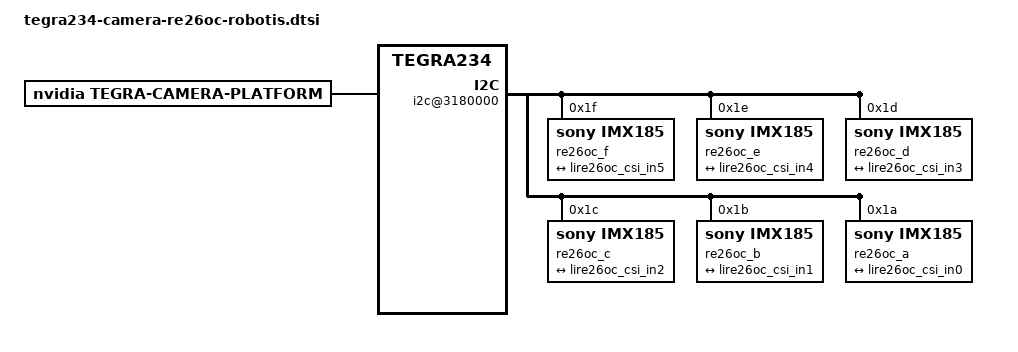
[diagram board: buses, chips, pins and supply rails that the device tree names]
/*
 * Novitec RE26OC
 *
 */

/ {
	fragment-camera@0 {
		target-path = "/";
		__overlay__ {
			tegra-capture-vi {
				num-channels = <6>;
				ports {
					#address-cells = <1>;
					#size-cells = <0>;
					port@0 {
						reg = <0>;
						lire26oc_vi_in0: endpoint {
							port-index = <0>;
							bus-width = <4>;
							vc-id = <0>;
							remote-endpoint = <&lire26oc_csi_out0>;
						};
					};

					port@1 {
						reg = <1>;
						lire26oc_vi_in1: endpoint {
							port-index = <0>;
							bus-width = <4>;
							vc-id = <1>;
							remote-endpoint = <&lire26oc_csi_out1>;
						};
					};

					port@2 {
						reg = <2>;
						lire26oc_vi_in2: endpoint {
							port-index = <2>;
							bus-width = <4>;
							vc-id = <0>;
							remote-endpoint = <&lire26oc_csi_out2>;
						};
					};

					port@3 {
						reg = <3>;
						lire26oc_vi_in3: endpoint {
							port-index = <2>;
							bus-width = <4>;
							vc-id = <1>;
							remote-endpoint = <&lire26oc_csi_out3>;
						};
					};

					port@4 {
						reg = <4>;
						lire26oc_vi_in4: endpoint {
							port-index = <4>;
							bus-width = <4>;
							vc-id = <0>;
							remote-endpoint = <&lire26oc_csi_out4>;
						};
					};

					port@5 {
						reg = <5>;
						lire26oc_vi_in5: endpoint {
							port-index = <4>;
							bus-width = <4>;
							vc-id = <1>;
							remote-endpoint = <&lire26oc_csi_out5>;
						};
					};
				};
			};
		};
	};
	fragment-camera@1 {
		target-path = "/bus@0";
		__overlay__ {
			host1x@13e00000 {
				nvcsi@15a00000 {
					num-channels = <6>;
					#address-cells = <1>;
					#size-cells = <0>;
					channel@0 {
						reg = <0>;
						ports {
							#address-cells = <1>;
							#size-cells = <0>;
							port@0 {
								reg = <0>;
								lire26oc_csi_in0: endpoint@0 {
									port-index = <0>;
									bus-width = <4>;
									remote-endpoint = <&lire26oc_re26oc_out0>;
								};
							};
							port@1 {
								reg = <1>;
								lire26oc_csi_out0: endpoint@1 {
									remote-endpoint = <&lire26oc_vi_in0>;
								};
							};
						};
					};
					channel@1 {
						reg = <1>;
						ports {
							#address-cells = <1>;
							#size-cells = <0>;
							port@0 {
								reg = <0>;
								lire26oc_csi_in1: endpoint@2 {
									port-index = <0>;
									bus-width = <4>;
									remote-endpoint = <&lire26oc_re26oc_out1>;
								};
							};
							port@1 {
								reg = <1>;
								lire26oc_csi_out1: endpoint@3 {
									remote-endpoint = <&lire26oc_vi_in1>;
								};
							};
						};
					};

					channel@2 {
						reg = <2>;
						ports {
							#address-cells = <1>;
							#size-cells = <0>;
							port@0 {
								reg = <0>;
								lire26oc_csi_in2: endpoint@4 {
									port-index = <2>;
									bus-width = <4>;
									remote-endpoint = <&lire26oc_re26oc_out2>;
								};
							};
							port@1 {
								reg = <1>;
								lire26oc_csi_out2: endpoint@5 {
									remote-endpoint = <&lire26oc_vi_in2>;
								};
							};
						};
					};

					channel@3 {
						reg = <3>;
						ports {
							#address-cells = <1>;
							#size-cells = <0>;
							port@0 {
								reg = <0>;
								lire26oc_csi_in3: endpoint@6 {
									port-index = <2>;
									bus-width = <4>;
									remote-endpoint = <&lire26oc_re26oc_out3>;
								};
							};
							port@1 {
								reg = <1>;
								lire26oc_csi_out3: endpoint@7 {
									remote-endpoint = <&lire26oc_vi_in3>;
								};
							};
						};
					};

					channel@4 {
						reg = <4>;
						ports {
							#address-cells = <1>;
							#size-cells = <0>;
							port@0 {
								reg = <0>;
								lire26oc_csi_in4: endpoint@8 {
									port-index = <4>;
									bus-width = <4>;
									remote-endpoint = <&lire26oc_re26oc_out4>;
								};
							};
							port@1 {
								reg = <1>;
								lire26oc_csi_out4: endpoint@9 {
									remote-endpoint = <&lire26oc_vi_in4>;
								};
							};
						};
					};

					channel@5 {
						reg = <5>;
						ports {
							#address-cells = <1>;
							#size-cells = <0>;
							port@0 {
								reg = <0>;
								lire26oc_csi_in5: endpoint@10 {
									port-index = <4>;
									bus-width = <4>;
									remote-endpoint = <&lire26oc_re26oc_out5>;
								};
							};
							port@1 {
								reg = <1>;
								lire26oc_csi_out5: endpoint@11 {
									remote-endpoint = <&lire26oc_vi_in5>;
								};
							};
						};
					};
				};
			};
			
			i2c@3180000 {
				re26oc_f@1f {
					compatible = "sony,imx185";

					reg = <0x1f>;
					devnode = "video5";

					/* Physical dimensions of sensor */
					physical_w = "15.0";
					physical_h = "12.5";

					sensor_model ="re26oc";

					mode0 {
						vc_id = "5";
						mclk_khz = "24000";
						num_lanes = "4";
						tegra_sinterface = "serial_e";
						phy_mode = "DPHY";
						discontinuous_clk = "yes";
						dpcm_enable = "false";
						cil_settletime = "0";
						dynamic_pixel_bit_depth = "16";
						csi_pixel_bit_depth = "16";
						mode_type = "yuv";
						pixel_phase = "uyvy";

						active_w = "1920";
						active_h = "1080";
						readout_orientation = "0";
						line_length = "2200";
						inherent_gain = "1";
						mclk_multiplier = "14";
						pix_clk_hz = "336000000";

						gain_factor = "10";
						min_gain_val = "0"; /* 0dB */
						max_gain_val = "480"; /* 48dB */
						step_gain_val = "3"; /* 0.3 */
						default_gain = "0";
						min_hdr_ratio = "1";
						max_hdr_ratio = "1";
						framerate_factor = "1000000";
						min_framerate = "1500000"; /* 1.5 */
						max_framerate = "60000000"; /* 30 */
						step_framerate = "1";
						default_framerate= "30000000";
						exposure_factor = "1000000";
						min_exp_time = "30"; /* us */
						max_exp_time = "660000"; /* us */
						step_exp_time = "1";
						default_exp_time = "33334";/* us */
						embedded_metadata_height = "0";
					};
					mode1 {
						vc_id = "5";
						mclk_khz = "24000";
						num_lanes = "4";
						tegra_sinterface = "serial_e";
						phy_mode = "DPHY";
						discontinuous_clk = "yes";
						dpcm_enable = "false";
						cil_settletime = "0";
						dynamic_pixel_bit_depth = "16";
						csi_pixel_bit_depth = "16";
						mode_type = "yuv";
						pixel_phase = "uyvy";

						active_w = "1280";
						active_h = "720";
						readout_orientation = "0";
						line_length = "1470";
						inherent_gain = "1";
						mclk_multiplier = "14";
						pix_clk_hz = "336000000";

						gain_factor = "10";
						min_gain_val = "0"; /* 0dB */
						max_gain_val = "480"; /* 48dB */
						step_gain_val = "3"; /* 0.3 */
						default_gain = "0";
						min_hdr_ratio = "1";
						max_hdr_ratio = "1";
						framerate_factor = "1000000";
						min_framerate = "1500000"; /* 1.5 */
						max_framerate = "60000000"; /* 30 */
						step_framerate = "1";
						default_framerate= "30000000";
						exposure_factor = "1000000";
						min_exp_time = "30"; /* us */
						max_exp_time = "660000"; /* us */
						step_exp_time = "1";
						default_exp_time = "33334";/* us */
						embedded_metadata_height = "0";
					};
					ports {
						#address-cells = <1>;
						#size-cells = <0>;
						port@0 {
							reg = <0>;
							lire26oc_re26oc_out5: endpoint {
								vc-id = <1>;
								port-index = <4>;
								bus-width = <4>;
								remote-endpoint = <&lire26oc_csi_in5>;
							};
						};
					};
				};

				re26oc_e@1e {
					compatible = "sony,imx185";

					reg = <0x1e>;
					devnode = "video4";

					/* Physical dimensions of sensor */
					physical_w = "15.0";
					physical_h = "12.5";

					sensor_model ="re26oc";

					mode0 {
						vc_id = "4";
						mclk_khz = "24000";
						num_lanes = "4";
						tegra_sinterface = "serial_e";
						phy_mode = "DPHY";
						discontinuous_clk = "yes";
						dpcm_enable = "false";
						cil_settletime = "0";
						dynamic_pixel_bit_depth = "16";
						csi_pixel_bit_depth = "16";
						mode_type = "yuv";
						pixel_phase = "uyvy";

						active_w = "1920";
						active_h = "1080";
						readout_orientation = "0";
						line_length = "2200";
						inherent_gain = "1";
						mclk_multiplier = "14";
						pix_clk_hz = "336000000";

						gain_factor = "10";
						min_gain_val = "0"; /* 0dB */
						max_gain_val = "480"; /* 48dB */
						step_gain_val = "3"; /* 0.3 */
						default_gain = "0";
						min_hdr_ratio = "1";
						max_hdr_ratio = "1";
						framerate_factor = "1000000";
						min_framerate = "1500000"; /* 1.5 */
						max_framerate = "60000000"; /* 30 */
						step_framerate = "1";
						default_framerate= "30000000";
						exposure_factor = "1000000";
						min_exp_time = "30"; /* us */
						max_exp_time = "660000"; /* us */
						step_exp_time = "1";
						default_exp_time = "33334";/* us */
						embedded_metadata_height = "0";
					};
					mode1 {
						vc_id = "4";
						mclk_khz = "24000";
						num_lanes = "4";
						tegra_sinterface = "serial_e";
						phy_mode = "DPHY";
						discontinuous_clk = "yes";
						dpcm_enable = "false";
						cil_settletime = "0";
						dynamic_pixel_bit_depth = "16";
						csi_pixel_bit_depth = "16";
						mode_type = "yuv";
						pixel_phase = "uyvy";

						active_w = "1280";
						active_h = "720";
						readout_orientation = "0";
						line_length = "1470";
						inherent_gain = "1";
						mclk_multiplier = "14";
						pix_clk_hz = "336000000";

						gain_factor = "10";
						min_gain_val = "0"; /* 0dB */
						max_gain_val = "480"; /* 48dB */
						step_gain_val = "3"; /* 0.3 */
						default_gain = "0";
						min_hdr_ratio = "1";
						max_hdr_ratio = "1";
						framerate_factor = "1000000";
						min_framerate = "1500000"; /* 1.5 */
						max_framerate = "60000000"; /* 30 */
						step_framerate = "1";
						default_framerate= "30000000";
						exposure_factor = "1000000";
						min_exp_time = "30"; /* us */
						max_exp_time = "660000"; /* us */
						step_exp_time = "1";
						default_exp_time = "33334";/* us */
						embedded_metadata_height = "0";
					};
					ports {
						#address-cells = <1>;
						#size-cells = <0>;
						port@0 {
							reg = <0>;
							lire26oc_re26oc_out4: endpoint {
								vc-id = <0>;
								port-index = <4>;
								bus-width = <4>;
								remote-endpoint = <&lire26oc_csi_in4>;
							};
						};
					};
				};


				re26oc_d@1d{
					compatible = "sony,imx185";

					reg = <0x1d>;
					devnode = "video3";

					/* Physical dimensions of sensor */
					physical_w = "15.0";
					physical_h = "12.5";

					sensor_model ="re26oc";

					mode0 {
						vc_id = "3";
						mclk_khz = "24000";
						num_lanes = "4";
						tegra_sinterface = "serial_c";
						phy_mode = "DPHY";
						discontinuous_clk = "yes";
						dpcm_enable = "false";
						cil_settletime = "0";
						dynamic_pixel_bit_depth = "16";
						csi_pixel_bit_depth = "16";
						mode_type = "yuv";
						pixel_phase = "uyvy";

						active_w = "1920";
						active_h = "1080";
						readout_orientation = "0";
						line_length = "2200";
						inherent_gain = "1";
						mclk_multiplier = "14";
						pix_clk_hz = "336000000";

						gain_factor = "10";
						min_gain_val = "0"; /* 0dB */
						max_gain_val = "480"; /* 48dB */
						step_gain_val = "3"; /* 0.3 */
						default_gain = "0";
						min_hdr_ratio = "1";
						max_hdr_ratio = "1";
						framerate_factor = "1000000";
						min_framerate = "1500000"; /* 1.5 */
						max_framerate = "60000000"; /* 30 */
						step_framerate = "1";
						default_framerate= "30000000";
						exposure_factor = "1000000";
						min_exp_time = "30"; /* us */
						max_exp_time = "660000"; /* us */
						step_exp_time = "1";
						default_exp_time = "33334";/* us */
						embedded_metadata_height = "0";
					};
					mode1 {
						vc_id = "3";
						mclk_khz = "24000";
						num_lanes = "4";
						tegra_sinterface = "serial_c";
						phy_mode = "DPHY";
						discontinuous_clk = "yes";
						dpcm_enable = "false";
						cil_settletime = "0";
						dynamic_pixel_bit_depth = "16";
						csi_pixel_bit_depth = "16";
						mode_type = "yuv";
						pixel_phase = "uyvy";

						active_w = "1280";
						active_h = "720";
						readout_orientation = "0";
						line_length = "1470";
						inherent_gain = "1";
						mclk_multiplier = "14";
						pix_clk_hz = "336000000";

						gain_factor = "10";
						min_gain_val = "0"; /* 0dB */
						max_gain_val = "480"; /* 48dB */
						step_gain_val = "3"; /* 0.3 */
						default_gain = "0";
						min_hdr_ratio = "1";
						max_hdr_ratio = "1";
						framerate_factor = "1000000";
						min_framerate = "1500000"; /* 1.5 */
						max_framerate = "60000000"; /* 30 */
						step_framerate = "1";
						default_framerate= "30000000";
						exposure_factor = "1000000";
						min_exp_time = "30"; /* us */
						max_exp_time = "660000"; /* us */
						step_exp_time = "1";
						default_exp_time = "33334";/* us */
						embedded_metadata_height = "0";
					};
					ports {
						#address-cells = <1>;
						#size-cells = <0>;
						port@0 {
							reg = <0>;
							lire26oc_re26oc_out3: endpoint {
								vc-id = <1>;
								port-index = <2>;
								bus-width = <4>;
								remote-endpoint = <&lire26oc_csi_in3>;
							};
						};
					};
				};

				re26oc_c@1c {
					compatible = "sony,imx185";

					reg = <0x1c>;
					devnode = "video2";

					/* Physical dimensions of sensor */
					physical_w = "15.0";
					physical_h = "12.5";

					sensor_model ="re26oc";

					mode0 {
						vc_id = "2";
						mclk_khz = "24000";
						num_lanes = "4";
						tegra_sinterface = "serial_c";
						phy_mode = "DPHY";
						discontinuous_clk = "yes";
						dpcm_enable = "false";
						cil_settletime = "0";
						dynamic_pixel_bit_depth = "16";
						csi_pixel_bit_depth = "16";
						mode_type = "yuv";
						pixel_phase = "uyvy";

						active_w = "1920";
						active_h = "1080";
						readout_orientation = "0";
						line_length = "2200";
						inherent_gain = "1";
						mclk_multiplier = "14";
						pix_clk_hz = "336000000";

						gain_factor = "10";
						min_gain_val = "0"; /* 0dB */
						max_gain_val = "480"; /* 48dB */
						step_gain_val = "3"; /* 0.3 */
						default_gain = "0";
						min_hdr_ratio = "1";
						max_hdr_ratio = "1";
						framerate_factor = "1000000";
						min_framerate = "1500000"; /* 1.5 */
						max_framerate = "60000000"; /* 30 */
						step_framerate = "1";
						default_framerate= "30000000";
						exposure_factor = "1000000";
						min_exp_time = "30"; /* us */
						max_exp_time = "660000"; /* us */
						step_exp_time = "1";
						default_exp_time = "33334";/* us */
						embedded_metadata_height = "0";
					};
					mode1 {
						vc_id = "2";
						mclk_khz = "24000";
						num_lanes = "4";
						tegra_sinterface = "serial_c";
						phy_mode = "DPHY";
						discontinuous_clk = "yes";
						dpcm_enable = "false";
						cil_settletime = "0";
						dynamic_pixel_bit_depth = "16";
						csi_pixel_bit_depth = "16";
						mode_type = "yuv";
						pixel_phase = "uyvy";

						active_w = "1280";
						active_h = "720";
						readout_orientation = "0";
						line_length = "1470";
						inherent_gain = "1";
						mclk_multiplier = "14";
						pix_clk_hz = "336000000";

						gain_factor = "10";
						min_gain_val = "0"; /* 0dB */
						max_gain_val = "480"; /* 48dB */
						step_gain_val = "3"; /* 0.3 */
						default_gain = "0";
						min_hdr_ratio = "1";
						max_hdr_ratio = "1";
						framerate_factor = "1000000";
						min_framerate = "1500000"; /* 1.5 */
						max_framerate = "60000000"; /* 30 */
						step_framerate = "1";
						default_framerate= "30000000";
						exposure_factor = "1000000";
						min_exp_time = "30"; /* us */
						max_exp_time = "660000"; /* us */
						step_exp_time = "1";
						default_exp_time = "33334";/* us */
						embedded_metadata_height = "0";
					};
					ports {
						#address-cells = <1>;
						#size-cells = <0>;
						port@0 {
							reg = <0>;
							lire26oc_re26oc_out2: endpoint {
								vc-id = <0>;
								port-index = <2>;
								bus-width = <4>;
								remote-endpoint = <&lire26oc_csi_in2>;
							};
						};
					};
				};

				re26oc_b@1b {
					compatible = "sony,imx185";

					reg = <0x1b>;
					devnode = "video1";

					/* Physical dimensions of sensor */
					physical_w = "15.0";
					physical_h = "12.5";

					sensor_model ="re26oc";

					mode0 {
						vc_id = "1";
						mclk_khz = "24000";
						num_lanes = "4";
						tegra_sinterface = "serial_a";
						phy_mode = "DPHY";
						discontinuous_clk = "yes";
						dpcm_enable = "false";
						cil_settletime = "0";
						dynamic_pixel_bit_depth = "16";
						csi_pixel_bit_depth = "16";
						mode_type = "yuv";
						pixel_phase = "uyvy";

						active_w = "1920";
						active_h = "1080";
						readout_orientation = "0";
						line_length = "2200";
						inherent_gain = "1";
						mclk_multiplier = "14";
						pix_clk_hz = "336000000";

						gain_factor = "10";
						min_gain_val = "0"; /* 0dB */
						max_gain_val = "480"; /* 48dB */
						step_gain_val = "3"; /* 0.3 */
						default_gain = "0";
						min_hdr_ratio = "1";
						max_hdr_ratio = "1";
						framerate_factor = "1000000";
						min_framerate = "1500000"; /* 1.5 */
						max_framerate = "60000000"; /* 30 */
						step_framerate = "1";
						default_framerate= "30000000";
						exposure_factor = "1000000";
						min_exp_time = "30"; /* us */
						max_exp_time = "660000"; /* us */
						step_exp_time = "1";
						default_exp_time = "33334";/* us */
						embedded_metadata_height = "0";
					};
					mode1 {
						vc_id = "1";
						mclk_khz = "24000";
						num_lanes = "4";
						tegra_sinterface = "serial_a";
						phy_mode = "DPHY";
						discontinuous_clk = "yes";
						dpcm_enable = "false";
						cil_settletime = "0";
						dynamic_pixel_bit_depth = "16";
						csi_pixel_bit_depth = "16";
						mode_type = "yuv";
						pixel_phase = "uyvy";

						active_w = "1280";
						active_h = "720";
						readout_orientation = "0";
						line_length = "1470";
						inherent_gain = "1";
						mclk_multiplier = "14";
						pix_clk_hz = "336000000";

						gain_factor = "10";
						min_gain_val = "0"; /* 0dB */
						max_gain_val = "480"; /* 48dB */
						step_gain_val = "3"; /* 0.3 */
						default_gain = "0";
						min_hdr_ratio = "1";
						max_hdr_ratio = "1";
						framerate_factor = "1000000";
						min_framerate = "1500000"; /* 1.5 */
						max_framerate = "60000000"; /* 30 */
						step_framerate = "1";
						default_framerate= "30000000";
						exposure_factor = "1000000";
						min_exp_time = "30"; /* us */
						max_exp_time = "660000"; /* us */
						step_exp_time = "1";
						default_exp_time = "33334";/* us */
						embedded_metadata_height = "0";
					};
					ports {
						#address-cells = <1>;
						#size-cells = <0>;
						port@0 {
							reg = <0>;
							lire26oc_re26oc_out1: endpoint {
								vc-id = <1>;
								port-index = <0>;
								bus-width = <4>;
								remote-endpoint = <&lire26oc_csi_in1>;
							};
						};
					};
				};

				re26oc_a@1a {
					compatible = "sony,imx185";

					reg = <0x1a>;
					devnode = "video0";

					/* Physical dimensions of sensor */
					physical_w = "15.0";
					physical_h = "12.5";

					sensor_model ="re26oc";

					mode0 {
						vc_id = "0";
						mclk_khz = "24000";
						num_lanes = "4";
						tegra_sinterface = "serial_a";
						phy_mode = "DPHY";
						discontinuous_clk = "yes";
						dpcm_enable = "false";
						cil_settletime = "0";
						dynamic_pixel_bit_depth = "16";
						csi_pixel_bit_depth = "16";
						mode_type = "yuv";
						pixel_phase = "uyvy";

						active_w = "1920";
						active_h = "1080";
						readout_orientation = "0";
						line_length = "2200";
						inherent_gain = "1";
						mclk_multiplier = "14";
						pix_clk_hz = "336000000";

						gain_factor = "10";
						min_gain_val = "0"; /* 0dB */
						max_gain_val = "480"; /* 48dB */
						step_gain_val = "3"; /* 0.3 */
						default_gain = "0";
						min_hdr_ratio = "1";
						max_hdr_ratio = "1";
						framerate_factor = "1000000";
						min_framerate = "1500000"; /* 1.5 */
						max_framerate = "60000000"; /* 30 */
						step_framerate = "1";
						default_framerate= "30000000";
						exposure_factor = "1000000";
						min_exp_time = "30"; /* us */
						max_exp_time = "660000"; /* us */
						step_exp_time = "1";
						default_exp_time = "33334";/* us */
						embedded_metadata_height = "0";
					};
					mode1 {
						vc_id = "0";
						mclk_khz = "24000";
						num_lanes = "4";
						tegra_sinterface = "serial_a";
						phy_mode = "DPHY";
						discontinuous_clk = "yes";
						dpcm_enable = "false";
						cil_settletime = "0";
						dynamic_pixel_bit_depth = "16";
						csi_pixel_bit_depth = "16";
						mode_type = "yuv";
						pixel_phase = "uyvy";

						active_w = "1280";
						active_h = "720";
						readout_orientation = "0";
						line_length = "1470";
						inherent_gain = "1";
						mclk_multiplier = "14";
						pix_clk_hz = "336000000";

						gain_factor = "10";
						min_gain_val = "0"; /* 0dB */
						max_gain_val = "480"; /* 48dB */
						step_gain_val = "3"; /* 0.3 */
						default_gain = "0";
						min_hdr_ratio = "1";
						max_hdr_ratio = "1";
						framerate_factor = "1000000";
						min_framerate = "1500000"; /* 1.5 */
						max_framerate = "60000000"; /* 30 */
						step_framerate = "1";
						default_framerate= "30000000";
						exposure_factor = "1000000";
						min_exp_time = "30"; /* us */
						max_exp_time = "660000"; /* us */
						step_exp_time = "1";
						default_exp_time = "33334";/* us */
						embedded_metadata_height = "0";
					};
					ports {
						#address-cells = <1>;
						#size-cells = <0>;
						port@0 {
							reg = <0>;
							lire26oc_re26oc_out0: endpoint {
								vc-id = <0>;
								port-index = <0>;
								bus-width = <4>;
								remote-endpoint = <&lire26oc_csi_in0>;
							};
						};
					};
				};
			};
		};

	};
};
/ {
	fragment-camera@2 {
		target-path = "/";
		__overlay__ {
			tegra-camera-platform {
				compatible = "nvidia, tegra-camera-platform";
				/**
				* Physical settings to calculate max ISO BW
				*
				* num_csi_lanes = <>;
				* Total number of CSI lanes when all cameras are active
				*
				* max_lane_speed = <>;
				* Max lane speed in Kbit/s
				*
				* min_bits_per_pixel = <>;
				* Min bits per pixel
				*
				* vi_peak_byte_per_pixel = <>;
				* Max byte per pixel for the VI ISO case
				*
				* vi_bw_margin_pct = <>;
				* Vi bandwidth margin in percentage
				*
				* max_pixel_rate = <>;
				* Max pixel rate in Kpixel/s for the ISP ISO case
				*
				* isp_peak_byte_per_pixel = <>;
				* Max byte per pixel for the ISP ISO case
				*
				* isp_bw_margin_pct = <>;
				* Isp bandwidth margin in percentage
				*/
				num_csi_lanes = <12>;
				max_lane_speed = <1500000>;
				min_bits_per_pixel = <10>;
				vi_peak_byte_per_pixel = <2>;
				vi_bw_margin_pct = <25>;
				isp_peak_byte_per_pixel = <5>;
				isp_bw_margin_pct = <25>;

				/**
				 * The general guideline for naming badge_info contains 3 parts, and is as follows,
				 * The first part is the camera_board_id for the module; if the module is in a FFD
				 * platform, then use the platform name for this part.
				 * The second part contains the position of the module, ex. "rear" or "front".
				 * The third part contains the last 6 characters of a part number which is found
				 * in the module's specsheet from the vender.
				 */
				modules {
					module0 {
						badge = "re26oc_bottomleft_lire26oc";
						position = "bottomleft";
						orientation = "0";
						devnode = "video0";
						drivernode0 {
							/* Declare PCL support driver (classically known as guid)  */
							pcl_id = "v4l2_sensor";
							/* Driver v4l2 device name */
							/* devname = "re26oc 30-001a"; */
							/* Declare the device-tree hierarchy to driver instance */
							sysfs-device-tree = "/sys/firmware/devicetree/base/bus@0/i2c@3180000/re26oc_a@1a";
						};
					};

					module1 {
						badge = "re26oc_bottomright_lire26oc";
						position = "bottomright";
						orientation = "0";
						devnode = "video1";
						drivernode0 {
							/* Declare PCL support driver (classically known as guid)  */
							pcl_id = "v4l2_sensor";
							/* Driver v4l2 device name */
							/* devname = "re26oc 31-001b"; */
							/* Declare the device-tree hierarchy to driver instance */
							sysfs-device-tree = "/sys/firmware/devicetree/base/bus@0/i2c@3180000/re26oc_b@1c";
						};
					};

					module2 {
						badge = "re26oc_centerleft_lire26oc";
						position = "centerleft";
						orientation = "0";
						devnode = "video2";
						drivernode0 {
							/* Declare PCL support driver (classically known as guid)  */
							pcl_id = "v4l2_sensor";
							/* Driver v4l2 device name */
							/* devname = "re26oc 32-001c"; */
							/* Declare the device-tree hierarchy to driver instance */
							sysfs-device-tree = "/sys/firmware/devicetree/base/bus@0/i2c@3180000/re26oc_c@1c";
						};
					};

					module3 {
						badge = "re26oc_centerright_lire26oc";
						position = "centerright";
						orientation = "0";
						devnode = "video3";
						drivernode0 {
							/* Declare PCL support driver (classically known as guid)  */
							pcl_id = "v4l2_sensor";
							/* Driver v4l2 device name */
							/* devname = "re26oc 33-001d"; */
							/* Declare the device-tree hierarchy to driver instance */
							sysfs-device-tree = "/sys/firmware/devicetree/base/bus@0/i2c@3180000/re26oc_d@1d";
						};
					};

					module4 {
						badge = "re26oc_topleft_lire26oc";
						position = "topleft";
						orientation = "0";
						devnode = "video4";
						drivernode0 {
							/* Declare PCL support driver (classically known as guid)  */
							pcl_id = "v4l2_sensor";
							/* Driver v4l2 device name */
							/* devname = "re26oc 34-001e"; */
							/* Declare the device-tree hierarchy to driver instance */
							sysfs-device-tree = "/sys/firmware/devicetree/base/bus@0/i2c@3180000/re26oc_e@1e";
						};
					};

					module5 {
						badge = "re26oc_topright_lire26oc";
						position = "topright";
						orientation = "0";
						devnode = "video5";
						drivernode0 {
							/* Declare PCL support driver (classically known as guid)  */
							pcl_id = "v4l2_sensor";
							/* Driver v4l2 device name */
							/* devname = "re26oc 35-001f"; */
							/* Declare the device-tree hierarchy to driver instance */
							sysfs-device-tree = "/sys/firmware/devicetree/base/bus@0/i2c@3180000/re26oc_f@1f";
						};
					};
				};
			};
		};
	};
};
